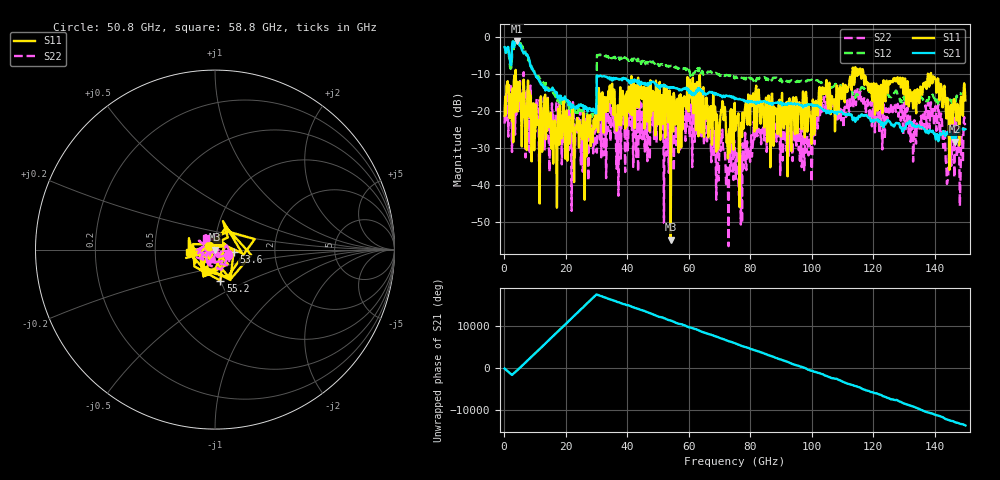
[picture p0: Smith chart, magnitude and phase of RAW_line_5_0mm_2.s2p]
!  2-Port S-parameters saved by WinCal
! VAR MeasName=S-Parameters (CALIBRATED_DATA) read from VNA (MS4647B)
! VAR MeasDate=27-Apr-22 15:18:04
! VAR NAME=RAW_line_5mm_2
! VAR FILENAME=RAW_line_5mm_2.S2P
! VAR DATE=27-Apr-22 15:18:04
! VAR PHYS_PORTS=1,2
! VAR ObjTypeName=DATASET
! VAR IndexType=Frequency
! VAR ChuckHeaterState=Unknown
! VAR ChuckTemp=NaN
! VAR ChuckTempUnits=Unknown
# Hz S RI R 50
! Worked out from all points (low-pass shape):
!   750 points, 200 MHz to 150 GHz, reference 50 ohm
!   highest |S21| = -1.06 dB at 4.2 GHz (marker M1); lowest = -28.3 dB at 146.6 GHz (marker M2)
!   |S21| within 3 dB of the highest: 652.2 MHz to 1.592 GHz (939.8 MHz wide, 83.8 % of centre); 2.537 GHz to 6.247 GHz (3.71 GHz wide, 84.5 % of centre)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
!   lowest |S11| = -54.7 dB at 54.2 GHz (marker M3), VSWR 1.00, Z = 50.2 - j0.0957 ohm
!   |S11| at or under -10 dB: 3.828 GHz to 113.3 GHz (109.4 GHz wide, 187 % of centre); 116.9 GHz to 137.8 GHz (20.93 GHz wide, 16.4 % of centre); 138.8 GHz to end of sweep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
!   |S22| runs from -56.5 to -9.5 dB; largest |S21 - S12| = 1.7
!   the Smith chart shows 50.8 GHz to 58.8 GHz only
!   S11 on the Smith chart (normalised r, x): 50.8 GHz: 0.93, +0.04; 53.6 GHz: 1.23, -0.04; 55.2 GHz: 1.00, -0.36; 58.8 GHz: 0.74, -0.02
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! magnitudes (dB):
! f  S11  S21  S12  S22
! 200 MHz  -21.3  -2.7  -2.6  -23.4
! 4.2 GHz  -12.0  -1.1  -1.7  -12.4
! 16.6 GHz  -22.6  -14.8  -15.5  -28.3
! 25.2 GHz  -24.0  -18.4  -20.1  -27.2
! 29.4 GHz  -24.9  -19.6  -21.3  -27.1
! 30.8 GHz  -13.8  -10.7  -5.0  -21.4
! 50.2 GHz  -16.3  -13.1  -7.5  -23.1
! 50.8 GHz  -27.8  -13.3  -7.4  -21.9
! 53.6 GHz  -19.6  -13.6  -8.0  -36.7
! 54.2 GHz  -54.7  -13.5  -7.8  -24.9
! 55.2 GHz  -15.1  -13.7  -7.7  -36.2
! 58.8 GHz  -16.6  -14.0  -8.4  -21.5
! 75.2 GHz  -25.3  -16.4  -10.8  -31.2
! 76.8 GHz  -25.7  -16.8  -10.8  -35.3
! 82.4 GHz  -20.5  -17.5  -11.1  -26.8
! 100.2 GHz  -24.0  -18.3  -11.6  -32.1
! 104.4 GHz  -15.4  -19.7  -12.5  -19.2
! 125.2 GHz  -11.9  -22.8  -16.2  -20.4
! 144.2 GHz  -16.5  -25.7  -16.7  -38.9
! 146.6 GHz  -17.4  -28.3  -18.4  -23.3
! 148.6 GHz  -16.1  -25.0  -15.3  -29.1
! 150 GHz  -17.1  -24.9  -15.6  -23.3
